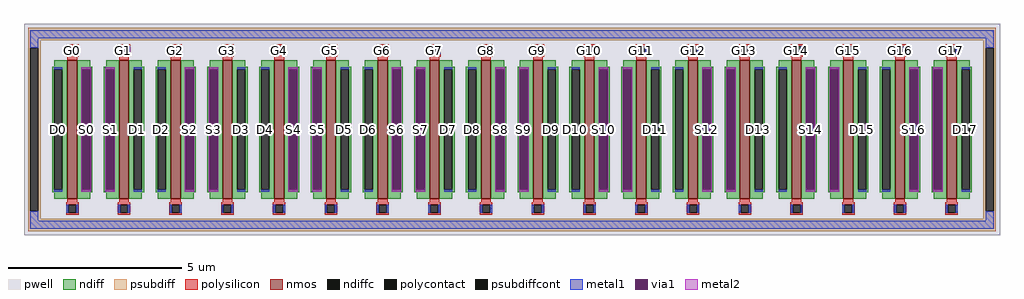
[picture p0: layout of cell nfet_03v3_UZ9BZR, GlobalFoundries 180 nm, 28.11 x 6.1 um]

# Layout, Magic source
magic
tech gf180mcuD
magscale 1 10
<< pwell >>
rect -2811 -610 2811 610
<< nmos >>
rect -2561 -400 -2505 400
rect -2263 -400 -2207 400
rect -1965 -400 -1909 400
rect -1667 -400 -1611 400
rect -1369 -400 -1313 400
rect -1071 -400 -1015 400
rect -773 -400 -717 400
rect -475 -400 -419 400
rect -177 -400 -121 400
rect 121 -400 177 400
rect 419 -400 475 400
rect 717 -400 773 400
rect 1015 -400 1071 400
rect 1313 -400 1369 400
rect 1611 -400 1667 400
rect 1909 -400 1965 400
rect 2207 -400 2263 400
rect 2505 -400 2561 400
<< ndiff >>
rect -2636 361 -2561 400
rect -2649 348 -2561 361
rect -2649 -348 -2636 348
rect -2590 -348 -2561 348
rect -2649 -361 -2561 -348
rect -2636 -400 -2561 -361
rect -2505 361 -2430 400
rect -2338 361 -2263 400
rect -2505 348 -2417 361
rect -2505 -348 -2476 348
rect -2430 -348 -2417 348
rect -2505 -361 -2417 -348
rect -2351 348 -2263 361
rect -2351 -348 -2338 348
rect -2292 -348 -2263 348
rect -2351 -361 -2263 -348
rect -2505 -400 -2430 -361
rect -2338 -400 -2263 -361
rect -2207 361 -2132 400
rect -2040 361 -1965 400
rect -2207 348 -2119 361
rect -2207 -348 -2178 348
rect -2132 -348 -2119 348
rect -2207 -361 -2119 -348
rect -2053 348 -1965 361
rect -2053 -348 -2040 348
rect -1994 -348 -1965 348
rect -2053 -361 -1965 -348
rect -2207 -400 -2132 -361
rect -2040 -400 -1965 -361
rect -1909 361 -1834 400
rect -1742 361 -1667 400
rect -1909 348 -1821 361
rect -1909 -348 -1880 348
rect -1834 -348 -1821 348
rect -1909 -361 -1821 -348
rect -1755 348 -1667 361
rect -1755 -348 -1742 348
rect -1696 -348 -1667 348
rect -1755 -361 -1667 -348
rect -1909 -400 -1834 -361
rect -1742 -400 -1667 -361
rect -1611 361 -1536 400
rect -1444 361 -1369 400
rect -1611 348 -1523 361
rect -1611 -348 -1582 348
rect -1536 -348 -1523 348
rect -1611 -361 -1523 -348
rect -1457 348 -1369 361
rect -1457 -348 -1444 348
rect -1398 -348 -1369 348
rect -1457 -361 -1369 -348
rect -1611 -400 -1536 -361
rect -1444 -400 -1369 -361
rect -1313 361 -1238 400
rect -1146 361 -1071 400
rect -1313 348 -1225 361
rect -1313 -348 -1284 348
rect -1238 -348 -1225 348
rect -1313 -361 -1225 -348
rect -1159 348 -1071 361
rect -1159 -348 -1146 348
rect -1100 -348 -1071 348
rect -1159 -361 -1071 -348
rect -1313 -400 -1238 -361
rect -1146 -400 -1071 -361
rect -1015 361 -940 400
rect -848 361 -773 400
rect -1015 348 -927 361
rect -1015 -348 -986 348
rect -940 -348 -927 348
rect -1015 -361 -927 -348
rect -861 348 -773 361
rect -861 -348 -848 348
rect -802 -348 -773 348
rect -861 -361 -773 -348
rect -1015 -400 -940 -361
rect -848 -400 -773 -361
rect -717 361 -642 400
rect -550 361 -475 400
rect -717 348 -629 361
rect -717 -348 -688 348
rect -642 -348 -629 348
rect -717 -361 -629 -348
rect -563 348 -475 361
rect -563 -348 -550 348
rect -504 -348 -475 348
rect -563 -361 -475 -348
rect -717 -400 -642 -361
rect -550 -400 -475 -361
rect -419 361 -344 400
rect -252 361 -177 400
rect -419 348 -331 361
rect -419 -348 -390 348
rect -344 -348 -331 348
rect -419 -361 -331 -348
rect -265 348 -177 361
rect -265 -348 -252 348
rect -206 -348 -177 348
rect -265 -361 -177 -348
rect -419 -400 -344 -361
rect -252 -400 -177 -361
rect -121 361 -46 400
rect 46 361 121 400
rect -121 348 -33 361
rect -121 -348 -92 348
rect -46 -348 -33 348
rect -121 -361 -33 -348
rect 33 348 121 361
rect 33 -348 46 348
rect 92 -348 121 348
rect 33 -361 121 -348
rect -121 -400 -46 -361
rect 46 -400 121 -361
rect 177 361 252 400
rect 344 361 419 400
rect 177 348 265 361
rect 177 -348 206 348
rect 252 -348 265 348
rect 177 -361 265 -348
rect 331 348 419 361
rect 331 -348 344 348
rect 390 -348 419 348
rect 331 -361 419 -348
rect 177 -400 252 -361
rect 344 -400 419 -361
rect 475 361 550 400
rect 642 361 717 400
rect 475 348 563 361
rect 475 -348 504 348
rect 550 -348 563 348
rect 475 -361 563 -348
rect 629 348 717 361
rect 629 -348 642 348
rect 688 -348 717 348
rect 629 -361 717 -348
rect 475 -400 550 -361
rect 642 -400 717 -361
rect 773 361 848 400
rect 940 361 1015 400
rect 773 348 861 361
rect 773 -348 802 348
rect 848 -348 861 348
rect 773 -361 861 -348
rect 927 348 1015 361
rect 927 -348 940 348
rect 986 -348 1015 348
rect 927 -361 1015 -348
rect 773 -400 848 -361
rect 940 -400 1015 -361
rect 1071 361 1146 400
rect 1238 361 1313 400
rect 1071 348 1159 361
rect 1071 -348 1100 348
rect 1146 -348 1159 348
rect 1071 -361 1159 -348
rect 1225 348 1313 361
rect 1225 -348 1238 348
rect 1284 -348 1313 348
rect 1225 -361 1313 -348
rect 1071 -400 1146 -361
rect 1238 -400 1313 -361
rect 1369 361 1444 400
rect 1536 361 1611 400
rect 1369 348 1457 361
rect 1369 -348 1398 348
rect 1444 -348 1457 348
rect 1369 -361 1457 -348
rect 1523 348 1611 361
rect 1523 -348 1536 348
rect 1582 -348 1611 348
rect 1523 -361 1611 -348
rect 1369 -400 1444 -361
rect 1536 -400 1611 -361
rect 1667 361 1742 400
rect 1834 361 1909 400
rect 1667 348 1755 361
rect 1667 -348 1696 348
rect 1742 -348 1755 348
rect 1667 -361 1755 -348
rect 1821 348 1909 361
rect 1821 -348 1834 348
rect 1880 -348 1909 348
rect 1821 -361 1909 -348
rect 1667 -400 1742 -361
rect 1834 -400 1909 -361
rect 1965 361 2040 400
rect 2132 361 2207 400
rect 1965 348 2053 361
rect 1965 -348 1994 348
rect 2040 -348 2053 348
rect 1965 -361 2053 -348
rect 2119 348 2207 361
rect 2119 -348 2132 348
rect 2178 -348 2207 348
rect 2119 -361 2207 -348
rect 1965 -400 2040 -361
rect 2132 -400 2207 -361
rect 2263 361 2338 400
rect 2430 361 2505 400
rect 2263 348 2351 361
rect 2263 -348 2292 348
rect 2338 -348 2351 348
rect 2263 -361 2351 -348
rect 2417 348 2505 361
rect 2417 -348 2430 348
rect 2476 -348 2505 348
rect 2417 -361 2505 -348
rect 2263 -400 2338 -361
rect 2430 -400 2505 -361
rect 2561 361 2636 400
rect 2561 348 2649 361
rect 2561 -348 2590 348
rect 2636 -348 2649 348
rect 2561 -361 2649 -348
rect 2561 -400 2636 -361
<< ndiffc >>
rect -2636 -348 -2590 348
rect -2476 -348 -2430 348
rect -2338 -348 -2292 348
rect -2178 -348 -2132 348
rect -2040 -348 -1994 348
rect -1880 -348 -1834 348
rect -1742 -348 -1696 348
rect -1582 -348 -1536 348
rect -1444 -348 -1398 348
rect -1284 -348 -1238 348
rect -1146 -348 -1100 348
rect -986 -348 -940 348
rect -848 -348 -802 348
rect -688 -348 -642 348
rect -550 -348 -504 348
rect -390 -348 -344 348
rect -252 -348 -206 348
rect -92 -348 -46 348
rect 46 -348 92 348
rect 206 -348 252 348
rect 344 -348 390 348
rect 504 -348 550 348
rect 642 -348 688 348
rect 802 -348 848 348
rect 940 -348 986 348
rect 1100 -348 1146 348
rect 1238 -348 1284 348
rect 1398 -348 1444 348
rect 1536 -348 1582 348
rect 1696 -348 1742 348
rect 1834 -348 1880 348
rect 1994 -348 2040 348
rect 2132 -348 2178 348
rect 2292 -348 2338 348
rect 2430 -348 2476 348
rect 2590 -348 2636 348
<< psubdiff >>
rect -2787 514 2787 586
rect -2787 470 -2715 514
rect -2787 -470 -2774 470
rect -2728 -470 -2715 470
rect 2715 470 2787 514
rect -2787 -514 -2715 -470
rect 2715 -470 2728 470
rect 2774 -470 2787 470
rect 2715 -514 2787 -470
rect -2787 -586 2787 -514
<< psubdiffcont >>
rect -2774 -470 -2728 470
rect 2728 -470 2774 470
<< polysilicon >>
rect -2569 479 -2497 492
rect -2569 433 -2556 479
rect -2510 433 -2497 479
rect -2569 420 -2497 433
rect -2271 479 -2199 492
rect -2271 433 -2258 479
rect -2212 433 -2199 479
rect -2271 420 -2199 433
rect -1973 479 -1901 492
rect -1973 433 -1960 479
rect -1914 433 -1901 479
rect -1973 420 -1901 433
rect -1675 479 -1603 492
rect -1675 433 -1662 479
rect -1616 433 -1603 479
rect -1675 420 -1603 433
rect -1377 479 -1305 492
rect -1377 433 -1364 479
rect -1318 433 -1305 479
rect -1377 420 -1305 433
rect -1079 479 -1007 492
rect -1079 433 -1066 479
rect -1020 433 -1007 479
rect -1079 420 -1007 433
rect -781 479 -709 492
rect -781 433 -768 479
rect -722 433 -709 479
rect -781 420 -709 433
rect -483 479 -411 492
rect -483 433 -470 479
rect -424 433 -411 479
rect -483 420 -411 433
rect -185 479 -113 492
rect -185 433 -172 479
rect -126 433 -113 479
rect -185 420 -113 433
rect 113 479 185 492
rect 113 433 126 479
rect 172 433 185 479
rect 113 420 185 433
rect 411 479 483 492
rect 411 433 424 479
rect 470 433 483 479
rect 411 420 483 433
rect 709 479 781 492
rect 709 433 722 479
rect 768 433 781 479
rect 709 420 781 433
rect 1007 479 1079 492
rect 1007 433 1020 479
rect 1066 433 1079 479
rect 1007 420 1079 433
rect 1305 479 1377 492
rect 1305 433 1318 479
rect 1364 433 1377 479
rect 1305 420 1377 433
rect 1603 479 1675 492
rect 1603 433 1616 479
rect 1662 433 1675 479
rect 1603 420 1675 433
rect 1901 479 1973 492
rect 1901 433 1914 479
rect 1960 433 1973 479
rect 1901 420 1973 433
rect 2199 479 2271 492
rect 2199 433 2212 479
rect 2258 433 2271 479
rect 2199 420 2271 433
rect 2497 479 2569 492
rect 2497 433 2510 479
rect 2556 433 2569 479
rect 2497 420 2569 433
rect -2561 400 -2505 420
rect -2263 400 -2207 420
rect -1965 400 -1909 420
rect -1667 400 -1611 420
rect -1369 400 -1313 420
rect -1071 400 -1015 420
rect -773 400 -717 420
rect -475 400 -419 420
rect -177 400 -121 420
rect 121 400 177 420
rect 419 400 475 420
rect 717 400 773 420
rect 1015 400 1071 420
rect 1313 400 1369 420
rect 1611 400 1667 420
rect 1909 400 1965 420
rect 2207 400 2263 420
rect 2505 400 2561 420
rect -2561 -420 -2505 -400
rect -2263 -420 -2207 -400
rect -1965 -420 -1909 -400
rect -1667 -420 -1611 -400
rect -1369 -420 -1313 -400
rect -1071 -420 -1015 -400
rect -773 -420 -717 -400
rect -475 -420 -419 -400
rect -177 -420 -121 -400
rect 121 -420 177 -400
rect 419 -420 475 -400
rect 717 -420 773 -400
rect 1015 -420 1071 -400
rect 1313 -420 1369 -400
rect 1611 -420 1667 -400
rect 1909 -420 1965 -400
rect 2207 -420 2263 -400
rect 2505 -420 2561 -400
rect -2569 -433 -2497 -420
rect -2569 -479 -2556 -433
rect -2510 -479 -2497 -433
rect -2569 -492 -2497 -479
rect -2271 -433 -2199 -420
rect -2271 -479 -2258 -433
rect -2212 -479 -2199 -433
rect -2271 -492 -2199 -479
rect -1973 -433 -1901 -420
rect -1973 -479 -1960 -433
rect -1914 -479 -1901 -433
rect -1973 -492 -1901 -479
rect -1675 -433 -1603 -420
rect -1675 -479 -1662 -433
rect -1616 -479 -1603 -433
rect -1675 -492 -1603 -479
rect -1377 -433 -1305 -420
rect -1377 -479 -1364 -433
rect -1318 -479 -1305 -433
rect -1377 -492 -1305 -479
rect -1079 -433 -1007 -420
rect -1079 -479 -1066 -433
rect -1020 -479 -1007 -433
rect -1079 -492 -1007 -479
rect -781 -433 -709 -420
rect -781 -479 -768 -433
rect -722 -479 -709 -433
rect -781 -492 -709 -479
rect -483 -433 -411 -420
rect -483 -479 -470 -433
rect -424 -479 -411 -433
rect -483 -492 -411 -479
rect -185 -433 -113 -420
rect -185 -479 -172 -433
rect -126 -479 -113 -433
rect -185 -492 -113 -479
rect 113 -433 185 -420
rect 113 -479 126 -433
rect 172 -479 185 -433
rect 113 -492 185 -479
rect 411 -433 483 -420
rect 411 -479 424 -433
rect 470 -479 483 -433
rect 411 -492 483 -479
rect 709 -433 781 -420
rect 709 -479 722 -433
rect 768 -479 781 -433
rect 709 -492 781 -479
rect 1007 -433 1079 -420
rect 1007 -479 1020 -433
rect 1066 -479 1079 -433
rect 1007 -492 1079 -479
rect 1305 -433 1377 -420
rect 1305 -479 1318 -433
rect 1364 -479 1377 -433
rect 1305 -492 1377 -479
rect 1603 -433 1675 -420
rect 1603 -479 1616 -433
rect 1662 -479 1675 -433
rect 1603 -492 1675 -479
rect 1901 -433 1973 -420
rect 1901 -479 1914 -433
rect 1960 -479 1973 -433
rect 1901 -492 1973 -479
rect 2199 -433 2271 -420
rect 2199 -479 2212 -433
rect 2258 -479 2271 -433
rect 2199 -492 2271 -479
rect 2497 -433 2569 -420
rect 2497 -479 2510 -433
rect 2556 -479 2569 -433
rect 2497 -492 2569 -479
<< polycontact >>
rect -2556 433 -2510 479
rect -2258 433 -2212 479
rect -1960 433 -1914 479
rect -1662 433 -1616 479
rect -1364 433 -1318 479
rect -1066 433 -1020 479
rect -768 433 -722 479
rect -470 433 -424 479
rect -172 433 -126 479
rect 126 433 172 479
rect 424 433 470 479
rect 722 433 768 479
rect 1020 433 1066 479
rect 1318 433 1364 479
rect 1616 433 1662 479
rect 1914 433 1960 479
rect 2212 433 2258 479
rect 2510 433 2556 479
rect -2556 -479 -2510 -433
rect -2258 -479 -2212 -433
rect -1960 -479 -1914 -433
rect -1662 -479 -1616 -433
rect -1364 -479 -1318 -433
rect -1066 -479 -1020 -433
rect -768 -479 -722 -433
rect -470 -479 -424 -433
rect -172 -479 -126 -433
rect 126 -479 172 -433
rect 424 -479 470 -433
rect 722 -479 768 -433
rect 1020 -479 1066 -433
rect 1318 -479 1364 -433
rect 1616 -479 1662 -433
rect 1914 -479 1960 -433
rect 2212 -479 2258 -433
rect 2510 -479 2556 -433
<< metal1 >>
rect -2774 527 2774 573
rect -2774 470 -2728 527
rect -2567 433 -2556 479
rect -2510 433 -2499 479
rect -2269 433 -2258 479
rect -2212 433 -2201 479
rect -1971 433 -1960 479
rect -1914 433 -1903 479
rect -1673 433 -1662 479
rect -1616 433 -1605 479
rect -1375 433 -1364 479
rect -1318 433 -1307 479
rect -1077 433 -1066 479
rect -1020 433 -1009 479
rect -779 433 -768 479
rect -722 433 -711 479
rect -481 433 -470 479
rect -424 433 -413 479
rect -183 433 -172 479
rect -126 433 -115 479
rect 115 433 126 479
rect 172 433 183 479
rect 413 433 424 479
rect 470 433 481 479
rect 711 433 722 479
rect 768 433 779 479
rect 1009 433 1020 479
rect 1066 433 1077 479
rect 1307 433 1318 479
rect 1364 433 1375 479
rect 1605 433 1616 479
rect 1662 433 1673 479
rect 1903 433 1914 479
rect 1960 433 1971 479
rect 2201 433 2212 479
rect 2258 433 2269 479
rect 2499 433 2510 479
rect 2556 433 2567 479
rect 2728 470 2774 527
rect -2636 348 -2590 359
rect -2636 -359 -2590 -348
rect -2479 348 -2427 360
rect -2479 -360 -2427 -348
rect -2341 348 -2289 360
rect -2341 -360 -2289 -348
rect -2178 348 -2132 359
rect -2178 -359 -2132 -348
rect -2040 348 -1994 359
rect -2040 -359 -1994 -348
rect -1883 348 -1831 360
rect -1883 -360 -1831 -348
rect -1745 348 -1693 360
rect -1745 -360 -1693 -348
rect -1582 348 -1536 359
rect -1582 -359 -1536 -348
rect -1444 348 -1398 359
rect -1444 -359 -1398 -348
rect -1287 348 -1235 360
rect -1287 -360 -1235 -348
rect -1149 348 -1097 360
rect -1149 -360 -1097 -348
rect -986 348 -940 359
rect -986 -359 -940 -348
rect -848 348 -802 359
rect -848 -359 -802 -348
rect -691 348 -639 360
rect -691 -360 -639 -348
rect -553 348 -501 360
rect -553 -360 -501 -348
rect -390 348 -344 359
rect -390 -359 -344 -348
rect -252 348 -206 359
rect -252 -359 -206 -348
rect -95 348 -43 360
rect -95 -360 -43 -348
rect 43 348 95 360
rect 43 -360 95 -348
rect 206 348 252 359
rect 206 -359 252 -348
rect 344 348 390 359
rect 344 -359 390 -348
rect 501 348 553 360
rect 501 -360 553 -348
rect 639 348 691 360
rect 639 -360 691 -348
rect 802 348 848 359
rect 802 -359 848 -348
rect 940 348 986 359
rect 940 -359 986 -348
rect 1097 348 1149 360
rect 1097 -360 1149 -348
rect 1235 348 1287 360
rect 1235 -360 1287 -348
rect 1398 348 1444 359
rect 1398 -359 1444 -348
rect 1536 348 1582 359
rect 1536 -359 1582 -348
rect 1693 348 1745 360
rect 1693 -360 1745 -348
rect 1831 348 1883 360
rect 1831 -360 1883 -348
rect 1994 348 2040 359
rect 1994 -359 2040 -348
rect 2132 348 2178 359
rect 2132 -359 2178 -348
rect 2289 348 2341 360
rect 2289 -360 2341 -348
rect 2427 348 2479 360
rect 2427 -360 2479 -348
rect 2590 348 2636 359
rect 2590 -359 2636 -348
rect -2774 -527 -2728 -470
rect -2567 -479 -2556 -433
rect -2510 -479 -2499 -433
rect -2269 -479 -2258 -433
rect -2212 -479 -2201 -433
rect -1971 -479 -1960 -433
rect -1914 -479 -1903 -433
rect -1673 -479 -1662 -433
rect -1616 -479 -1605 -433
rect -1375 -479 -1364 -433
rect -1318 -479 -1307 -433
rect -1077 -479 -1066 -433
rect -1020 -479 -1009 -433
rect -779 -479 -768 -433
rect -722 -479 -711 -433
rect -481 -479 -470 -433
rect -424 -479 -413 -433
rect -183 -479 -172 -433
rect -126 -479 -115 -433
rect 115 -479 126 -433
rect 172 -479 183 -433
rect 413 -479 424 -433
rect 470 -479 481 -433
rect 711 -479 722 -433
rect 768 -479 779 -433
rect 1009 -479 1020 -433
rect 1066 -479 1077 -433
rect 1307 -479 1318 -433
rect 1364 -479 1375 -433
rect 1605 -479 1616 -433
rect 1662 -479 1673 -433
rect 1903 -479 1914 -433
rect 1960 -479 1971 -433
rect 2201 -479 2212 -433
rect 2258 -479 2269 -433
rect 2499 -479 2510 -433
rect 2556 -479 2567 -433
rect 2728 -527 2774 -470
rect -2774 -573 2774 -527
<< via1 >>
rect -2479 -348 -2476 348
rect -2476 -348 -2430 348
rect -2430 -348 -2427 348
rect -2341 -348 -2338 348
rect -2338 -348 -2292 348
rect -2292 -348 -2289 348
rect -1883 -348 -1880 348
rect -1880 -348 -1834 348
rect -1834 -348 -1831 348
rect -1745 -348 -1742 348
rect -1742 -348 -1696 348
rect -1696 -348 -1693 348
rect -1287 -348 -1284 348
rect -1284 -348 -1238 348
rect -1238 -348 -1235 348
rect -1149 -348 -1146 348
rect -1146 -348 -1100 348
rect -1100 -348 -1097 348
rect -691 -348 -688 348
rect -688 -348 -642 348
rect -642 -348 -639 348
rect -553 -348 -550 348
rect -550 -348 -504 348
rect -504 -348 -501 348
rect -95 -348 -92 348
rect -92 -348 -46 348
rect -46 -348 -43 348
rect 43 -348 46 348
rect 46 -348 92 348
rect 92 -348 95 348
rect 501 -348 504 348
rect 504 -348 550 348
rect 550 -348 553 348
rect 639 -348 642 348
rect 642 -348 688 348
rect 688 -348 691 348
rect 1097 -348 1100 348
rect 1100 -348 1146 348
rect 1146 -348 1149 348
rect 1235 -348 1238 348
rect 1238 -348 1284 348
rect 1284 -348 1287 348
rect 1693 -348 1696 348
rect 1696 -348 1742 348
rect 1742 -348 1745 348
rect 1831 -348 1834 348
rect 1834 -348 1880 348
rect 1880 -348 1883 348
rect 2289 -348 2292 348
rect 2292 -348 2338 348
rect 2338 -348 2341 348
rect 2427 -348 2430 348
rect 2430 -348 2476 348
rect 2476 -348 2479 348
<< metal2 >>
rect -2481 348 -2425 360
rect -2481 -348 -2479 348
rect -2427 -348 -2425 348
rect -2481 -360 -2425 -348
rect -2343 348 -2287 360
rect -2343 -348 -2341 348
rect -2289 -348 -2287 348
rect -2343 -360 -2287 -348
rect -1885 348 -1829 360
rect -1885 -348 -1883 348
rect -1831 -348 -1829 348
rect -1885 -360 -1829 -348
rect -1747 348 -1691 360
rect -1747 -348 -1745 348
rect -1693 -348 -1691 348
rect -1747 -360 -1691 -348
rect -1289 348 -1233 360
rect -1289 -348 -1287 348
rect -1235 -348 -1233 348
rect -1289 -360 -1233 -348
rect -1151 348 -1095 360
rect -1151 -348 -1149 348
rect -1097 -348 -1095 348
rect -1151 -360 -1095 -348
rect -693 348 -637 360
rect -693 -348 -691 348
rect -639 -348 -637 348
rect -693 -360 -637 -348
rect -555 348 -499 360
rect -555 -348 -553 348
rect -501 -348 -499 348
rect -555 -360 -499 -348
rect -97 348 -41 360
rect -97 -348 -95 348
rect -43 -348 -41 348
rect -97 -360 -41 -348
rect 41 348 97 360
rect 41 -348 43 348
rect 95 -348 97 348
rect 41 -360 97 -348
rect 499 348 555 360
rect 499 -348 501 348
rect 553 -348 555 348
rect 499 -360 555 -348
rect 637 348 693 360
rect 637 -348 639 348
rect 691 -348 693 348
rect 637 -360 693 -348
rect 1095 348 1151 360
rect 1095 -348 1097 348
rect 1149 -348 1151 348
rect 1095 -360 1151 -348
rect 1233 348 1289 360
rect 1233 -348 1235 348
rect 1287 -348 1289 348
rect 1233 -360 1289 -348
rect 1691 348 1747 360
rect 1691 -348 1693 348
rect 1745 -348 1747 348
rect 1691 -360 1747 -348
rect 1829 348 1885 360
rect 1829 -348 1831 348
rect 1883 -348 1885 348
rect 1829 -360 1885 -348
rect 2287 348 2343 360
rect 2287 -348 2289 348
rect 2341 -348 2343 348
rect 2287 -360 2343 -348
rect 2425 348 2481 360
rect 2425 -348 2427 348
rect 2479 -348 2481 348
rect 2425 -360 2481 -348
<< labels >>
rlabel ndiffc -2613 0 -2613 0 0 D0
port 1 nsew
rlabel ndiffc -2453 0 -2453 0 0 S0
port 2 nsew
rlabel polycontact -2533 456 -2533 456 0 G0
port 3 nsew
rlabel ndiffc -2155 0 -2155 0 0 D1
port 4 nsew
rlabel ndiffc -2315 0 -2315 0 0 S1
port 5 nsew
rlabel polycontact -2235 456 -2235 456 0 G1
port 6 nsew
rlabel ndiffc -2017 0 -2017 0 0 D2
port 7 nsew
rlabel ndiffc -1857 0 -1857 0 0 S2
port 8 nsew
rlabel polycontact -1937 456 -1937 456 0 G2
port 9 nsew
rlabel ndiffc -1559 0 -1559 0 0 D3
port 10 nsew
rlabel ndiffc -1719 0 -1719 0 0 S3
port 11 nsew
rlabel polycontact -1639 456 -1639 456 0 G3
port 12 nsew
rlabel ndiffc -1421 0 -1421 0 0 D4
port 13 nsew
rlabel ndiffc -1261 0 -1261 0 0 S4
port 14 nsew
rlabel polycontact -1341 456 -1341 456 0 G4
port 15 nsew
rlabel ndiffc -963 0 -963 0 0 D5
port 16 nsew
rlabel ndiffc -1123 0 -1123 0 0 S5
port 17 nsew
rlabel polycontact -1043 456 -1043 456 0 G5
port 18 nsew
rlabel ndiffc -825 0 -825 0 0 D6
port 19 nsew
rlabel ndiffc -665 0 -665 0 0 S6
port 20 nsew
rlabel polycontact -745 456 -745 456 0 G6
port 21 nsew
rlabel ndiffc -367 0 -367 0 0 D7
port 22 nsew
rlabel ndiffc -527 0 -527 0 0 S7
port 23 nsew
rlabel polycontact -447 456 -447 456 0 G7
port 24 nsew
rlabel ndiffc -229 0 -229 0 0 D8
port 25 nsew
rlabel ndiffc -69 0 -69 0 0 S8
port 26 nsew
rlabel polycontact -149 456 -149 456 0 G8
port 27 nsew
rlabel ndiffc 229 0 229 0 0 D9
port 28 nsew
rlabel ndiffc 69 0 69 0 0 S9
port 29 nsew
rlabel polycontact 149 456 149 456 0 G9
port 30 nsew
rlabel ndiffc 367 0 367 0 0 D10
port 31 nsew
rlabel ndiffc 527 0 527 0 0 S10
port 32 nsew
rlabel polycontact 447 456 447 456 0 G10
port 33 nsew
rlabel ndiffc 825 0 825 0 0 D11
port 34 nsew
rlabel ndiffc 665 0 665 0 0 S11
port 35 nsew
rlabel polycontact 745 456 745 456 0 G11
port 36 nsew
rlabel ndiffc 963 0 963 0 0 D12
port 37 nsew
rlabel ndiffc 1123 0 1123 0 0 S12
port 38 nsew
rlabel polycontact 1043 456 1043 456 0 G12
port 39 nsew
rlabel ndiffc 1421 0 1421 0 0 D13
port 40 nsew
rlabel ndiffc 1261 0 1261 0 0 S13
port 41 nsew
rlabel polycontact 1341 456 1341 456 0 G13
port 42 nsew
rlabel ndiffc 1559 0 1559 0 0 D14
port 43 nsew
rlabel ndiffc 1719 0 1719 0 0 S14
port 44 nsew
rlabel polycontact 1639 456 1639 456 0 G14
port 45 nsew
rlabel ndiffc 2017 0 2017 0 0 D15
port 46 nsew
rlabel ndiffc 1857 0 1857 0 0 S15
port 47 nsew
rlabel polycontact 1937 456 1937 456 0 G15
port 48 nsew
rlabel ndiffc 2155 0 2155 0 0 D16
port 49 nsew
rlabel ndiffc 2315 0 2315 0 0 S16
port 50 nsew
rlabel polycontact 2235 456 2235 456 0 G16
port 51 nsew
rlabel ndiffc 2613 0 2613 0 0 D17
port 52 nsew
rlabel ndiffc 2453 0 2453 0 0 S17
port 53 nsew
rlabel polycontact 2533 456 2533 456 0 G17
port 54 nsew
<< properties >>
string FIXED_BBOX -2751 -550 2751 550
string gencell nfet_03v3
string library gf180mcu
string parameters w 4.00 l 0.28 m 1 nf 18 diffcov 90 polycov 100 guard 1 glc 1 grc 1 gtc 0 gbc 0 tbcov 100 rlcov 100 topc 1 botc 1 poverlap 0 doverlap 0 lmin 0.28 wmin 0.22 class mosfet full_metal 1 viasrc 90 viadrn 0 viagate 0 viagb 0 viagr 0 viagl 0 viagt 0 doports 1 compatible {nfet_03v3 nfet_05v0 nfet_06v0 nfet_06v0_nvt}
<< end >>
